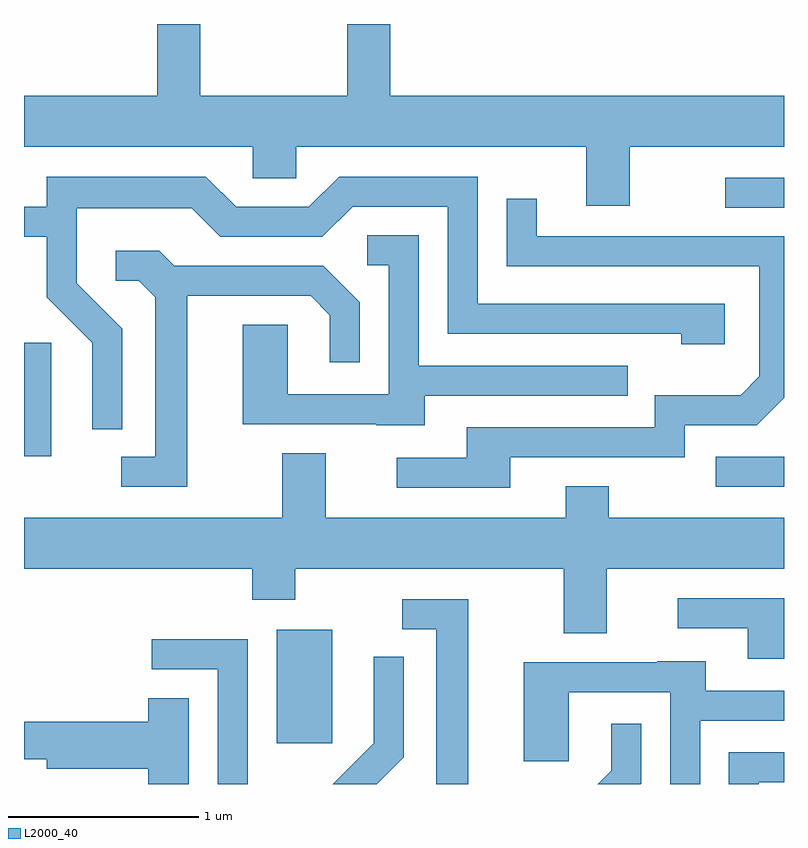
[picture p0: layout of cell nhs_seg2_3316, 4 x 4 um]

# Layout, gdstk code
import gdstk
lib = gdstk.Library(unit=1e-6, precision=1e-09)
def R(c, l, rs):  # rectangles x0, y0, x1, y1
    for r in rs: c.add(gdstk.rectangle(r[:2], r[2:], *l))
def P(c, l, *ps):  # polygons
    for p in ps: c.add(gdstk.Polygon(p, *l))
L2000_40 = (2000, 40)

nhs_seg2_3316 = lib.new_cell('nhs_seg2_3316')
R(nhs_seg2_3316, L2000_40, [(282.941,1094.016,283.234,1094.614), (285.253,1095.366,285.611,1095.524), (281.611,1095.526,281.754,1096.124), (285.303,1096.836,285.611,1096.994)])
P(nhs_seg2_3316, L2000_40, [(284.799,1097.156),(285.611,1097.156),(285.611,1097.424),(283.539,1097.424),(283.539,1097.802),(283.311,1097.802),(283.311,1097.424),(282.539,1097.424),(282.539,1097.802),(282.311,1097.802),(282.311,1097.424),(281.611,1097.424),(281.611,1097.156),(282.816,1097.156),(282.816,1096.991),(283.044,1096.991),(283.044,1097.156),(284.571,1097.156),(284.571,1096.846),(284.799,1096.846)],
  [(282.129,1096.197),(281.889,1096.437),(281.889,1096.831),(282.494,1096.831),(282.644,1096.681),(283.182,1096.681),(283.342,1096.841),(283.841,1096.841),(283.841,1096.171),(285.071,1096.171),(285.071,1096.116),(285.299,1096.116),(285.299,1096.329),(283.999,1096.329),(283.999,1096.999),(283.269,1096.999),(283.109,1096.839),(282.727,1096.839),(282.567,1096.999),(281.731,1096.999),(281.731,1096.839),(281.611,1096.839),(281.611,1096.681),(281.731,1096.681),(281.731,1096.364),(281.971,1096.124),(281.971,1095.668),(282.129,1095.668)],
  [(284.169,1095.521),(285.089,1095.521),(285.089,1095.691),(285.467,1095.691),(285.611,1095.836),(285.611,1096.684),(284.309,1096.684),(284.309,1096.883),(284.151,1096.883),(284.151,1096.526),(285.481,1096.526),(285.481,1095.947),(285.384,1095.849),(284.931,1095.849),(284.931,1095.679),(283.941,1095.679),(283.941,1095.519),(283.573,1095.519),(283.573,1095.361),(284.169,1095.361)],
  [(283.719,1095.846),(284.788,1095.846),(284.788,1096.004),(283.689,1096.004),(283.689,1096.689),(283.418,1096.689),(283.418,1096.531),(283.531,1096.531),(283.531,1095.854),(282.999,1095.854),(282.999,1096.219),(282.761,1096.219),(282.761,1095.696),(283.465,1095.696),(283.465,1095.691),(283.719,1095.691)],
  [(282.469,1096.371),(283.119,1096.371),(283.221,1096.269),(283.221,1096.023),(283.379,1096.023),(283.379,1096.337),(283.187,1096.529),(282.402,1096.529),(282.322,1096.609),(282.093,1096.609),(282.093,1096.451),(282.214,1096.451),(282.301,1096.364),(282.301,1095.524),(282.123,1095.524),(282.123,1095.366),(282.469,1095.366)],
  [(282.971,1095.204),(281.611,1095.204),(281.611,1094.936),(282.811,1094.936),(282.811,1094.771),(283.039,1094.771),(283.039,1094.936),(284.451,1094.936),(284.451,1094.596),(284.679,1094.596),(284.679,1094.936),(285.611,1094.936),(285.611,1095.204),(284.689,1095.204),(284.689,1095.369),(284.461,1095.369),(284.461,1095.204),(283.199,1095.204),(283.199,1095.544),(282.971,1095.544)],
  [(285.611,1094.779),(285.053,1094.779),(285.053,1094.621),(285.421,1094.621),(285.421,1094.461),(285.611,1094.461)],
  [(283.949,1094.774),(283.603,1094.774),(283.603,1094.616),(283.781,1094.616),(283.781,1093.802),(283.949,1093.802)],
  [(282.789,1094.564),(282.283,1094.564),(282.283,1094.406),(282.631,1094.406),(282.631,1093.802),(282.789,1093.802)],
  [(283.609,1093.944),(283.609,1094.473),(283.451,1094.473),(283.451,1094.017),(283.236,1093.802),(283.467,1093.802)],
  [(285.169,1094.136),(285.611,1094.136),(285.611,1094.294),(285.199,1094.294),(285.199,1094.449),(284.945,1094.449),(284.945,1094.444),(284.241,1094.444),(284.241,1093.921),(284.479,1093.921),(284.479,1094.286),(285.011,1094.286),(285.011,1093.802),(285.169,1093.802)],
  [(282.479,1094.254),(282.266,1094.254),(282.266,1094.129),(281.611,1094.129),(281.611,1093.931),(281.731,1093.931),(281.731,1093.881),(282.266,1093.881),(282.266,1093.802),(282.479,1093.802)],
  [(284.859,1093.804),(284.859,1094.118),(284.701,1094.118),(284.701,1093.872),(284.632,1093.802),(284.857,1093.802)],
  [(285.479,1093.811),(285.611,1093.811),(285.611,1093.969),(285.321,1093.969),(285.321,1093.802),(285.479,1093.802)])

lib.write_gds('nhs_seg2_3316.gds')
